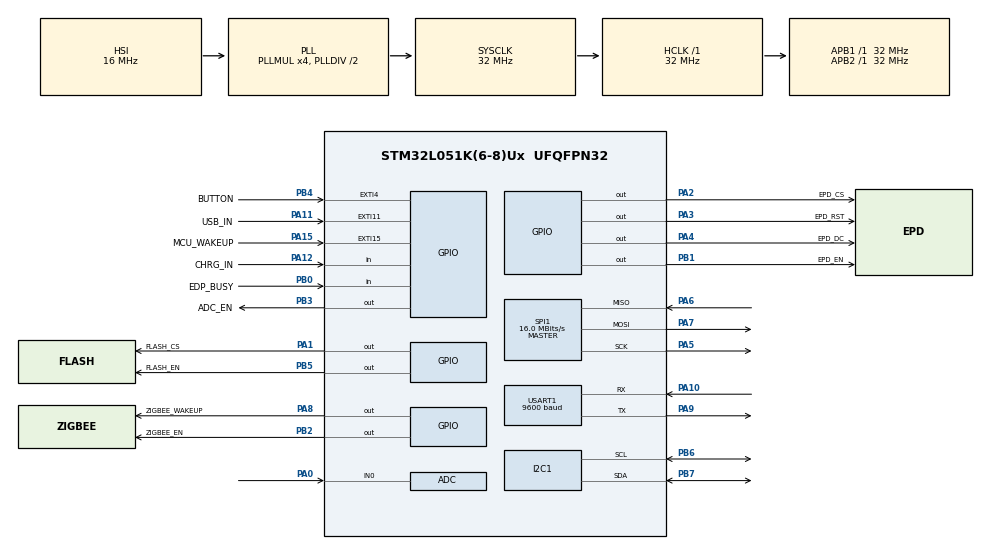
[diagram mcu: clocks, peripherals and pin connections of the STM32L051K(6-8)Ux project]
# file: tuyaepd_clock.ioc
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ADC.Overrun=ADC_OVR_DATA_PRESERVED
ADC.OversamplingMode=DISABLE
ADC.SamplingTime=ADC_SAMPLETIME_160CYCLES_5
ADC.ScanConvMode=ADC_SCAN_DIRECTION_FORWARD
I2C1.Timing=0x00707CBB
Mcu.Family=STM32L0
Mcu.Name=STM32L051K(6-8)Ux
Mcu.Package=UFQFPN32
NVIC.EXTI4_15_IRQn=true\:0\:0\:false\:false\:true\:true\:true
NVIC.RTC_IRQn=true\:1\:0\:true\:false\:true\:true\:true
NVIC.TIM6_DAC_IRQn=true\:1\:0\:true\:false\:true\:true\:true
NVIC.USART1_IRQn=true\:2\:0\:true\:false\:true\:true\:true
PA0.Mode=IN0
PA0.Signal=ADC_IN0
PA1.GPIO_Label=FLASH_CS
PA1.PinState=GPIO_PIN_SET
PA1.Signal=GPIO_Output
PA10.Mode=Asynchronous
PA10.Signal=USART1_RX
PA11.GPIO_Label=USB_IN
PA11.Signal=GPXTI11
PA12.GPIO_Label=CHRG_IN
PA12.Signal=GPIO_Input
PA13.Mode=Serial_Wire
PA13.Signal=SYS_SWDIO
PA14.Mode=Serial_Wire
PA14.Signal=SYS_SWCLK
PA15.GPIO_Label=MCU_WAKEUP
PA15.GPIO_ModeDefaultEXTI=GPIO_MODE_IT_FALLING
PA15.GPIO_PuPd=GPIO_PULLUP
PA15.Signal=GPXTI15
PA2.GPIO_Label=EPD_CS
PA2.PinState=GPIO_PIN_SET
PA2.Signal=GPIO_Output
PA3.GPIO_Label=EPD_RST
PA3.Signal=GPIO_Output
PA4.GPIO_Label=EPD_DC
PA4.Signal=GPIO_Output
PA5.Mode=Full_Duplex_Master
PA5.Signal=SPI1_SCK
PA6.Mode=Full_Duplex_Master
PA6.Signal=SPI1_MISO
PA7.Mode=Full_Duplex_Master
PA7.Signal=SPI1_MOSI
PA8.GPIO_Label=ZIGBEE_WAKEUP
PA8.Signal=GPIO_Output
PA9.Mode=Asynchronous
PA9.Signal=USART1_TX
PB0.GPIO_Label=EDP_BUSY
PB0.GPIO_PuPd=GPIO_NOPULL
PB0.Signal=GPIO_Input
PB1.GPIO_Label=EPD_EN
PB1.Signal=GPIO_Output
PB2.GPIO_Label=ZIGBEE_EN
PB2.Signal=GPIO_Output
PB3.GPIO_Label=ADC_EN
PB3.Signal=GPIO_Output
PB4.GPIO_Label=BUTTON
PB4.GPIO_ModeDefaultEXTI=GPIO_MODE_IT_FALLING
PB4.GPIO_PuPd=GPIO_PULLUP
PB4.Signal=GPXTI4
PB5.GPIO_Label=FLASH_EN
PB5.PinState=GPIO_PIN_RESET
PB5.Signal=GPIO_Output
PB6.Mode=I2C
PB6.Signal=I2C1_SCL
PB7.Mode=I2C
PB7.Signal=I2C1_SDA
PC14-OSC32_IN.Mode=LSE-External-Oscillator
PC14-OSC32_IN.Signal=RCC_OSC32_IN
PC15-OSC32_OUT.Mode=LSE-External-Oscillator
PC15-OSC32_OUT.Signal=RCC_OSC32_OUT
ProjectManager.HeapSize=0x200
ProjectManager.StackSize=0x400
ProjectManager.TargetToolchain=MDK-ARM V5
RCC.AHBFreq_Value=32000000
RCC.APB1Freq_Value=32000000
RCC.APB1TimFreq_Value=32000000
RCC.APB2Freq_Value=32000000
RCC.APB2TimFreq_Value=32000000
RCC.EnableCSSLSE=true
RCC.HCLKFreq_Value=32000000
RCC.HSI16_VALUE=16000000
RCC.HSI_VALUE=16000000
RCC.MSI_VALUE=2097000
RCC.PLLMUL=RCC_PLLMUL_4
RCC.RTCClockSelectionVirtual=RCC_RTCCLKSOURCE_LSE
RCC.SYSCLKFreq_VALUE=32000000
RCC.SYSCLKSource=RCC_SYSCLKSOURCE_PLLCLK
RCC.VCOOutputFreq_Value=64000000
RTC.Alarm=RTC_ALARM_A
RTC.AlarmDateWeekDaySel=RTC_ALARMDATEWEEKDAYSEL_DATE
RTC.AlarmMaskDateWeekDay=RTC_ALARMMASK_DATEWEEKDAY
RTC.AlarmMaskHours=RTC_ALARMMASK_HOURS
RTC.Format=RTC_FORMAT_BIN
RTC.Minutes_A=1
RTC.SynchPrediv=255
SPI1.BaudRatePrescaler=SPI_BAUDRATEPRESCALER_2
SPI1.CalculateBaudRate=16.0 MBits/s
SPI1.Direction=SPI_DIRECTION_2LINES
SPI1.Mode=SPI_MODE_MASTER
SPI1.VirtualType=VM_MASTER
TIM6.Period=2999
TIM6.Prescaler=319
USART1.BaudRate=9600
USART1.VirtualMode-Asynchronous=VM_ASYNC
VP_RTC_VS_RTC_Activate.Mode=RTC_Enabled
VP_RTC_VS_RTC_Alarm_A_Intern.Mode=Alarm A
VP_RTC_VS_RTC_Calendar.Mode=RTC_Calendar
VP_TIM6_VS_ClockSourceINT.Mode=Enable_Timer
board=custom

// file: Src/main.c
/* USER CODE BEGIN Header */
/**
  ******************************************************************************
  * @file           : main.c
  * @brief          : Main program body
  ******************************************************************************
  * @attention
  *
  * <h2><center>&copy; Copyright (c) 2020 STMicroelectronics.
  * All rights reserved.</center></h2>
  *
  * This software component is licensed by ST under BSD 3-Clause license,
  * the "License"; You may not use this file except in compliance with the
  * License. You may obtain a copy of the License at:
  *                        opensource.org/licenses/BSD-3-Clause
  *
  ******************************************************************************
  */
/* USER CODE END Header */

#include "main.h"
#include "adc.h"
#include "i2c.h"
#include "rtc.h"
#include "spi.h"
#include "tim.h"
#include "usart.h"
#include "gpio.h"

/* USER CODE BEGIN Includes */
#include "zigbee.h"
#include "sht30.h"
#include "gui.h"
#include "Battery.h"
#include "app.h"

/* USER CODE END Includes */

void SystemClock_Config(void);

/* USER CODE BEGIN 0 */
APP_T app_data;
/* USER CODE END 0 */

int main(void)
{

  /* MCU Configuration--------------------------------------------------------*/

  /* Reset of all peripherals, Initializes the Flash interface and the Systick. */
  HAL_Init();

  /* Configure the system clock */
  SystemClock_Config();

  /* Initialize all configured peripherals */
  MX_GPIO_Init();
  MX_ADC_Init();
  MX_I2C1_Init();
  MX_RTC_Init();
  MX_SPI1_Init();
  MX_USART1_UART_Init();
  MX_TIM6_Init();
  /* USER CODE BEGIN 2 */
  __HAL_UART_ENABLE_IT(&huart1, UART_IT_RXNE);
  HAL_TIM_Base_Start_IT(&htim6);
  APP_Init(&app_data);
  APP_Check_Hardware();
  zigbee_protocol_init();

#ifdef SWD_DEBUG
  HAL_DBGMCU_EnableDBGStopMode();
#endif
  /* USER CODE END 2 */

  /* Infinite loop */
  /* USER CODE BEGIN WHILE */
  while (1)
  {
    zigbee_uart_service();
    APP_Serve(&app_data);
    /* USER CODE END WHILE */

  }
}

void SystemClock_Config(void)
{
  RCC_OscInitTypeDef RCC_OscInitStruct = {0};
  RCC_ClkInitTypeDef RCC_ClkInitStruct = {0};
  RCC_PeriphCLKInitTypeDef PeriphClkInit = {0};

  /** Configure the main internal regulator output voltage
  */
  __HAL_PWR_VOLTAGESCALING_CONFIG(PWR_REGULATOR_VOLTAGE_SCALE1);
  /** Configure LSE Drive Capability
  */
  HAL_PWR_EnableBkUpAccess();
  __HAL_RCC_LSEDRIVE_CONFIG(RCC_LSEDRIVE_LOW);
  /** Initializes the CPU, AHB and APB busses clocks
  */
  RCC_OscInitStruct.OscillatorType = RCC_OSCILLATORTYPE_HSI | RCC_OSCILLATORTYPE_LSE;
  RCC_OscInitStruct.LSEState = RCC_LSE_ON;
  RCC_OscInitStruct.HSIState = RCC_HSI_ON;
  RCC_OscInitStruct.HSICalibrationValue = RCC_HSICALIBRATION_DEFAULT;
  RCC_OscInitStruct.PLL.PLLState = RCC_PLL_ON;
  RCC_OscInitStruct.PLL.PLLSource = RCC_PLLSOURCE_HSI;
  RCC_OscInitStruct.PLL.PLLMUL = RCC_PLLMUL_4;
  RCC_OscInitStruct.PLL.PLLDIV = RCC_PLLDIV_2;
  if (HAL_RCC_OscConfig(&RCC_OscInitStruct) != HAL_OK)
  {
    Error_Handler();
  }
  /** Initializes the CPU, AHB and APB busses clocks
  */
  RCC_ClkInitStruct.ClockType = RCC_CLOCKTYPE_HCLK | RCC_CLOCKTYPE_SYSCLK | RCC_CLOCKTYPE_PCLK1 | RCC_CLOCKTYPE_PCLK2;
  RCC_ClkInitStruct.SYSCLKSource = RCC_SYSCLKSOURCE_PLLCLK;
  RCC_ClkInitStruct.AHBCLKDivider = RCC_SYSCLK_DIV1;
  RCC_ClkInitStruct.APB1CLKDivider = RCC_HCLK_DIV1;
  RCC_ClkInitStruct.APB2CLKDivider = RCC_HCLK_DIV1;

  if (HAL_RCC_ClockConfig(&RCC_ClkInitStruct, FLASH_LATENCY_1) != HAL_OK)
  {
    Error_Handler();
  }
  PeriphClkInit.PeriphClockSelection = RCC_PERIPHCLK_USART1 | RCC_PERIPHCLK_I2C1 | RCC_PERIPHCLK_RTC;
  PeriphClkInit.Usart1ClockSelection = RCC_USART1CLKSOURCE_PCLK2;
  PeriphClkInit.I2c1ClockSelection = RCC_I2C1CLKSOURCE_PCLK1;
  PeriphClkInit.RTCClockSelection = RCC_RTCCLKSOURCE_LSE;
  if (HAL_RCCEx_PeriphCLKConfig(&PeriphClkInit) != HAL_OK)
  {
    Error_Handler();
  }
  /** Enables the Clock Security System
  */
  HAL_RCCEx_EnableLSECSS();
}

/* USER CODE BEGIN 4 */
void HAL_RTC_AlarmAEventCallback(RTC_HandleTypeDef *hrtc)
{
  app_data.app_exit = MCU_WAKEUP_RTC;
  /* Clear Wake Up Flag */
  __HAL_PWR_CLEAR_FLAG(PWR_FLAG_WU);
}

void HAL_GPIO_EXTI_Callback(uint16_t GPIO_Pin)
{
  if (GPIO_Pin == USB_IN_Pin)
  {
    app_data.app_exit = MCU_WAKEUP_USB;
  }
  else if (GPIO_Pin == MCU_WAKEUP_Pin)
  {
    app_data.app_exit = MCU_WAKEUP_SOC;
  }
  else if (GPIO_Pin == BUTTON_Pin)
  {
    app_data.app_exit = MCU_WAKEUP_BTN;
  }

  /* Clear Wake Up Flag */
  __HAL_PWR_CLEAR_FLAG(PWR_FLAG_WU);
}
/* USER CODE END 4 */

void Error_Handler(void)
{
}

/************************ (C) COPYRIGHT STMicroelectronics *****END OF FILE****/
